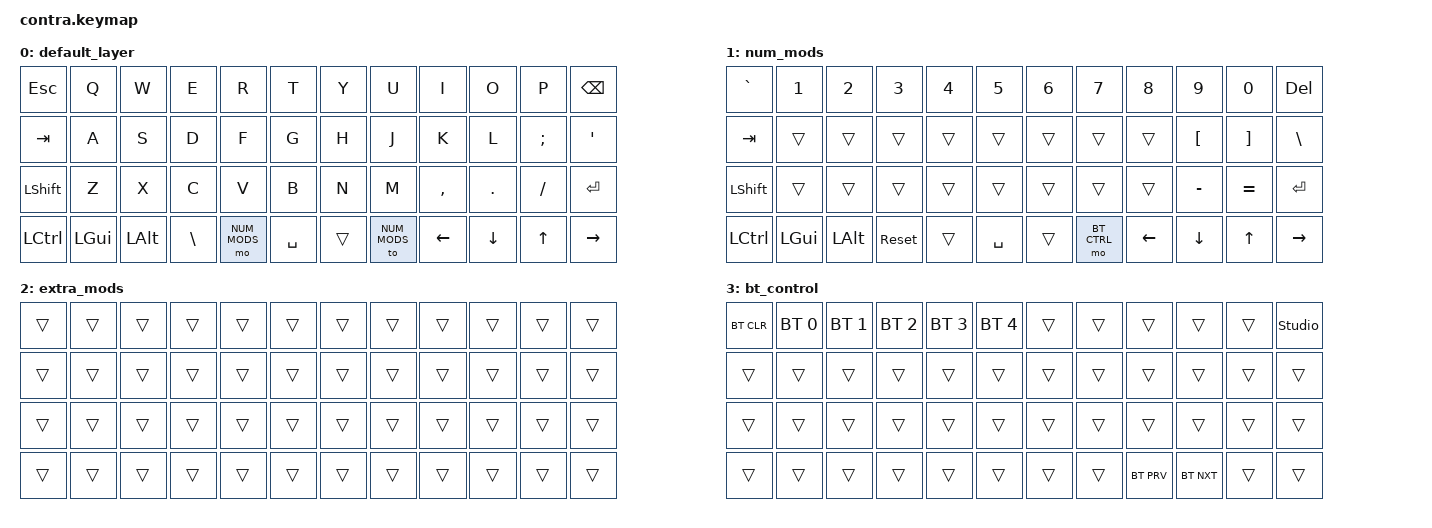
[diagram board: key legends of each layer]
/*
 * Copyright (c) 2021 The ZMK Contributors
 *
 * SPDX-License-Identifier: MIT
 */

#include <behaviors.dtsi>
#include <dt-bindings/zmk/keys.h>
#include <dt-bindings/zmk/bt.h>

#define DEFAULT  0
#define NUM_MODS 1
#define BT_CTRL  2

&vbatt { status = "disabled"; };

/ {
    vbatt_vddh: vbatt_vddh {
        compatible = "zmk,battery-nrf-vddh";
    };

    chosen {
        zmk,battery = &vbatt_vddh;
    };
    
    keymap {
        compatible = "zmk,keymap";

        default_layer {
            bindings = <
    &kp ESC   &kp Q     &kp W    &kp E     &kp R       &kp T      &kp Y     &kp U        &kp I     &kp O     &kp P    &kp BSPC
    &kp TAB   &kp A     &kp S    &kp D     &kp F       &kp G      &kp H     &kp J        &kp K     &kp L     &kp SEMI &kp SQT
    &kp LSHFT &kp Z     &kp X    &kp C     &kp V       &kp B      &kp N     &kp M        &kp COMMA &kp DOT   &kp FSLH &kp ENTER
    &kp LCTRL &kp LGUI  &kp LALT &kp BSLH  &mo NUM_MODS &kp SPACE  &trans    &to NUM_MODS &kp LEFT  &kp DOWN  &kp UP   &kp RIGHT
            >;
        };

        num_mods {
            bindings = <
    &kp GRAVE &kp N1    &kp N2   &kp N3   &kp N4      &kp N5     &kp N6    &kp N7      &kp N8    &kp N9    &kp N0   &kp DEL
    &kp TAB   &trans    &trans   &trans   &trans      &trans     &trans    &trans   &trans &kp LBKT  &kp RBKT &kp BSLH
    &kp LSHFT &trans    &trans   &trans   &trans      &trans     &trans    &trans   &trans &kp MINUS  &kp EQUAL  &kp ENTER
    &kp LCTRL &kp LGUI  &kp LALT &sys_reset   &trans &kp SPACE  &trans    &mo BT_CTRL &kp LEFT  &kp DOWN &kp UP   &kp RIGHT
            >;
        };

        extra_mods {
            bindings = <
    &trans &trans    &trans   &trans   &trans      &trans     &trans    &trans   &trans    &trans    &trans   &trans
    &trans &trans    &trans   &trans   &trans      &trans     &trans    &trans   &trans    &trans    &trans   &trans
    &trans &trans    &trans   &trans   &trans      &trans     &trans    &trans   &trans    &trans    &trans   &trans
    &trans &trans    &trans   &trans   &trans      &trans     &trans    &trans   &trans    &trans    &trans   &trans
            >;
        };

        bt_control {
            bindings = <
    &bt BT_CLR &bt BT_SEL 0 &bt BT_SEL 1 &bt BT_SEL 2 &bt BT_SEL 3 &bt BT_SEL 4 &trans    &trans    &trans     &trans     &trans   &studio_unlock
    &trans     &trans       &trans       &trans       &trans       &trans       &trans    &trans    &trans     &trans     &trans   &trans
    &trans     &trans       &trans       &trans       &trans       &trans       &trans    &trans    &trans     &trans     &trans   &trans
    &trans     &trans       &trans       &trans       &trans       &trans       &trans    &trans    &bt BT_PRV &bt BT_NXT &trans   &trans
            >;
        };
    };
};
